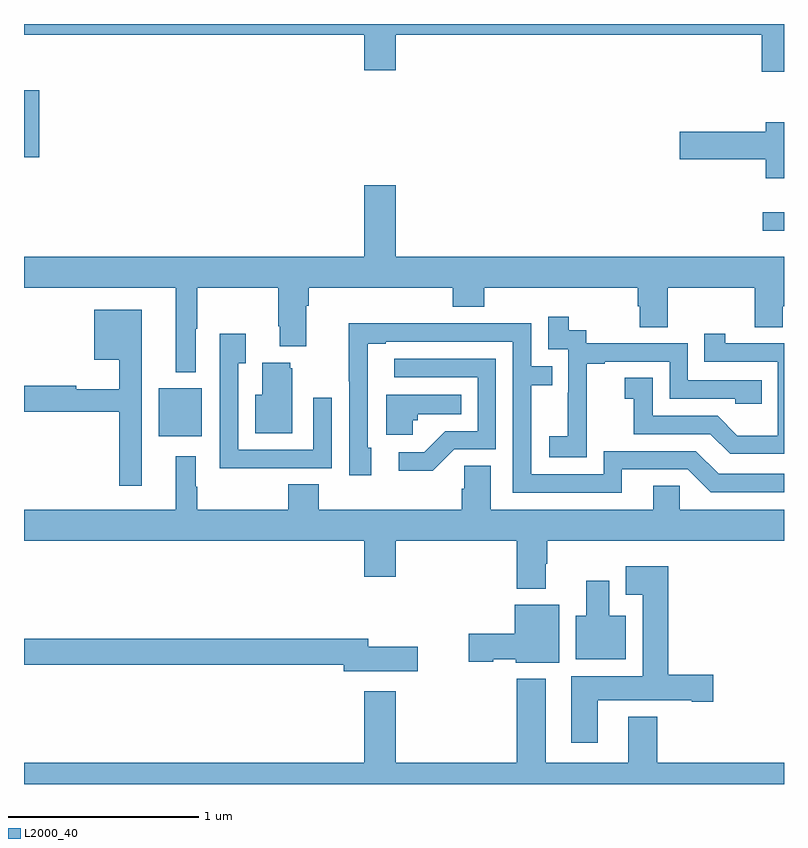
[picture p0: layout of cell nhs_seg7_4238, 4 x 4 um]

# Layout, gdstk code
import gdstk
lib = gdstk.Library(unit=1e-6, precision=1e-09)
def R(c, l, rs):  # rectangles x0, y0, x1, y1
    for r in rs: c.add(gdstk.rectangle(r[:2], r[2:], *l))
def P(c, l, *ps):  # polygons
    for p in ps: c.add(gdstk.Polygon(p, *l))
L2000_40 = (2000, 40)

nhs_seg7_4238 = lib.new_cell('nhs_seg7_4238')
R(nhs_seg7_4238, L2000_40, [(379.709,1003.829,379.936,1004.083), (382.887,1004.912,383,1005.009), (379,1005.299,379.079,1005.652)])
P(nhs_seg7_4238, L2000_40, [(383,1006),(379,1006),(379,1005.944),(380.792,1005.944),(380.792,1005.756),(380.956,1005.756),(380.956,1005.944),(382.883,1005.944),(382.883,1005.75),(383,1005.75)],
  [(383,1005.484),(382.904,1005.484),(382.904,1005.434),(382.452,1005.434),(382.452,1005.287),(382.904,1005.287),(382.904,1005.188),(383,1005.188)],
  [(379.903,1004.396),(379.913,1004.396),(379.913,1004.612),(380.338,1004.612),(380.338,1004.41),(380.345,1004.41),(380.345,1004.303),(380.485,1004.303),(380.485,1004.516),(380.498,1004.516),(380.498,1004.612),(381.257,1004.612),(381.257,1004.513),(381.422,1004.513),(381.422,1004.612),(382.229,1004.612),(382.229,1004.514),(382.241,1004.514),(382.241,1004.404),(382.389,1004.404),(382.389,1004.612),(382.846,1004.612),(382.846,1004.404),(382.993,1004.404),(382.993,1004.514),(383,1004.514),(383,1004.776),(380.956,1004.776),(380.956,1005.151),(380.792,1005.151),(380.792,1004.776),(379,1004.776),(379,1004.612),(379.799,1004.612),(379.799,1004.168),(379.903,1004.168)],
  [(379.621,1004.497),(379.37,1004.497),(379.37,1004.234),(379.5,1004.234),(379.5,1004.077),(379.274,1004.077),(379.274,1004.096),(379,1004.096),(379,1003.96),(379.5,1003.96),(379.5,1003.569),(379.621,1003.569)],
  [(381.963,1003.927),(381.962,1003.927),(381.962,1004.211),(382.057,1004.211),(382.057,1004.223),(382.398,1004.223),(382.398,1004.028),(382.743,1004.028),(382.743,1004.001),(382.883,1004.001),(382.883,1004.124),(382.494,1004.124),(382.494,1004.319),(381.96,1004.319),(381.96,1004.388),(381.868,1004.388),(381.868,1004.458),(381.759,1004.458),(381.759,1004.289),(381.864,1004.289),(381.864,1004.06),(381.863,1004.06),(381.863,1003.831),(381.765,1003.831),(381.765,1003.721),(381.963,1003.721)],
  [(382.147,1003.656),(382.494,1003.656),(382.614,1003.536),(383,1003.536),(383,1003.632),(382.656,1003.632),(382.536,1003.752),(382.05,1003.752),(382.05,1003.629),(381.669,1003.629),(381.669,1004.098),(381.779,1004.098),(381.779,1004.199),(381.669,1004.199),(381.669,1004.424),(381.173,1004.424),(381.173,1004.426),(380.71,1004.426),(380.71,1004.119),(380.712,1004.119),(380.712,1003.626),(380.827,1003.626),(380.827,1003.77),(380.808,1003.77),(380.808,1004.316),(380.905,1004.316),(380.905,1004.328),(381.573,1004.328),(381.573,1003.533),(382.147,1003.533)],
  [(383,1004.319),(382.69,1004.319),(382.69,1004.371),(382.579,1004.371),(382.579,1004.223),(382.968,1004.223),(382.968,1003.834),(382.754,1003.834),(382.65,1003.938),(382.308,1003.938),(382.308,1004.137),(382.161,1004.137),(382.161,1004.027),(382.21,1004.027),(382.21,1003.842),(382.613,1003.842),(382.718,1003.737),(383,1003.737)],
  [(380.303,1003.662),(380.619,1003.662),(380.619,1004.032),(380.523,1004.032),(380.523,1003.758),(380.127,1003.758),(380.127,1004.215),(380.167,1004.215),(380.167,1004.371),(380.031,1004.371),(380.031,1003.661),(380.303,1003.661)],
  [(381.264,1003.761),(381.483,1003.761),(381.483,1004.238),(380.949,1004.238),(380.949,1004.142),(381.387,1004.142),(381.387,1003.857),(381.218,1003.857),(381.107,1003.746),(380.973,1003.746),(380.973,1003.649),(381.151,1003.649)],
  [(380.413,1004.187),(380.402,1004.187),(380.402,1004.218),(380.255,1004.218),(380.255,1004.05),(380.216,1004.05),(380.216,1003.847),(380.413,1003.847)],
  [(381.045,1003.914),(381.072,1003.914),(381.072,1003.946),(381.302,1003.946),(381.302,1004.05),(380.906,1004.05),(380.906,1003.838),(381.045,1003.838)],
  [(381.745,1003.16),(381.753,1003.16),(381.753,1003.28),(383,1003.28),(383,1003.444),(382.452,1003.444),(382.452,1003.571),(382.313,1003.571),(382.313,1003.444),(381.457,1003.444),(381.457,1003.676),(381.318,1003.676),(381.318,1003.553),(381.305,1003.553),(381.305,1003.444),(380.552,1003.444),(380.552,1003.577),(380.392,1003.577),(380.392,1003.444),(379.913,1003.444),(379.913,1003.565),(379.903,1003.565),(379.903,1003.726),(379.799,1003.726),(379.799,1003.444),(379,1003.444),(379,1003.28),(380.792,1003.28),(380.792,1003.092),(380.956,1003.092),(380.956,1003.28),(381.593,1003.28),(381.593,1003.028),(381.745,1003.028)],
  [(382.021,1002.44),(382.514,1002.44),(382.514,1002.433),(382.627,1002.433),(382.627,1002.575),(382.391,1002.575),(382.391,1003.147),(382.166,1003.147),(382.166,1002.995),(382.256,1002.995),(382.256,1002.568),(381.881,1002.568),(381.881,1002.216),(382.021,1002.216)],
  [(382.168,1002.886),(382.081,1002.886),(382.081,1003.069),(381.959,1003.069),(381.959,1002.886),(381.905,1002.886),(381.905,1002.656),(382.168,1002.656)],
  [(381.817,1002.943),(381.584,1002.943),(381.584,1002.791),(381.342,1002.791),(381.342,1002.644),(381.471,1002.644),(381.471,1002.656),(381.588,1002.656),(381.588,1002.638),(381.817,1002.638)],
  [(381.073,1002.723),(380.812,1002.723),(380.812,1002.764),(379,1002.764),(379,1002.628),(380.684,1002.628),(380.684,1002.593),(381.073,1002.593)],
  [(383,1002.112),(382.334,1002.112),(382.334,1002.355),(382.181,1002.355),(382.181,1002.112),(381.745,1002.112),(381.745,1002.553),(381.593,1002.553),(381.593,1002.112),(380.956,1002.112),(380.956,1002.487),(380.792,1002.487),(380.792,1002.112),(379,1002.112),(379,1002),(383,1002)])

lib.write_gds('nhs_seg7_4238.gds')
